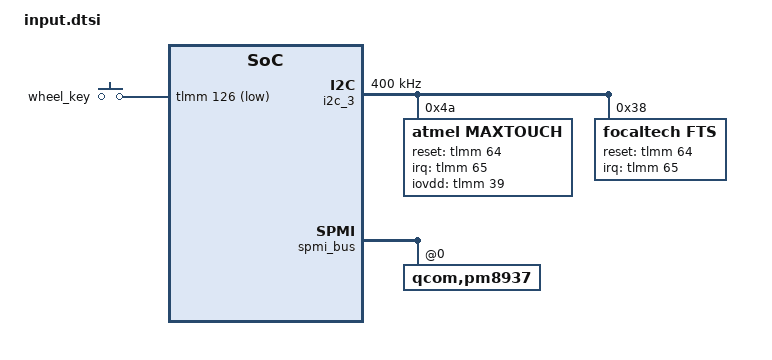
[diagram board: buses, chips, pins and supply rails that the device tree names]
// SPDX-License-Identifier: GPL-2.0-only
#include <dt-bindings/input/atmel-maxtouch.h>

&i2c_3 { /* BLSP1 QUP3 */
	status = "ok";
	clock-frequency = <400000>;

	/* EF71S (NT35695 panel): Atmel mXT641T */
	atmel@4a {
		compatible = "atmel,maxtouch", "atmel,atmel_mxt_641t";
		reg = <0x4a>;
		interrupt-parent = <&tlmm>;
		interrupts = <65 0x2008>;

		pinctrl-names = "default";
		pinctrl-0 = <&ts_int_active &ts_reset_active>;

		atmel,reset-gpio = <&tlmm 64 0x00>;
		atmel,irq-gpio = <&tlmm 65 0x2008>;
		atmel,iovdd-gpio = <&tlmm 39 0x00>;
		atmel,wakeup-method = <ATMEL_MXT_WAKEUP_I2C_SCL>;

		pantech,panel = "nt35695";
	};

	/* EF71AS: FocalTech FT8716, on the same GPIOs */
	focaltech@38 {
		compatible = "focaltech,fts";
		reg = <0x38>;
		interrupt-parent = <&tlmm>;
		interrupts = <65 0x2008>;
		pinctrl-names = "pmx_ts_active", "pmx_ts_suspend";
		pinctrl-0 = <&ts_int_active &ts_reset_active>;
		pinctrl-1 = <&ts_int_suspend &ts_reset_suspend>;
		focaltech,name = "fts";
		focaltech,family-id = <0x87>;
		focaltech,reset-gpio = <&tlmm 64 0x00>;
		focaltech,irq-gpio = <&tlmm 65 0x2008>;
		focaltech,display-coords = <0 0 1080 1920>;
		focaltech,panel-coords = <0 0 1080 1920>;
		focaltech,no-force-update;
		focaltech,i2c-pull-up;
		focaltech,group-id = <1>;
		focaltech,hard-reset-delay-ms = <20>;
		focaltech,soft-reset-delay-ms = <300>;
		focaltech,num-max-touches = <10>;
		focaltech,fw-name = "FT_Upgrade_App.i";
		focaltech,fw-delay-aa-ms = <50>;
		focaltech,fw-delay-55-ms = <30>;
		focaltech,fw-upgrade-id1 = <0x87>;
		focaltech,fw-upgrade-id2 = <0xa6>;
		focaltech,fw-delay-readid-ms = <10>;
		focaltech,fw-delay-era-flsh-ms = <2000>;
		/* The FT8716 reports both axes mirrored */
		pantech,x-flip;
		pantech,y-flip;
		pantech,panel = "ft8716";
	};
};

&soc {
	gpio_keys {
		pinctrl-names = "default";
		pinctrl-0 = <&gpio_key_wheel_active>;

		/delete-node/ camera_focus;
		/delete-node/ camera_snapshot;
		/delete-node/ vol_up;

		wheel_key {
			label = "wheel_key";
			gpios = <&tlmm 126 0x1>;
			linux,input-type = <1>;
			linux,code = <250>;
			gpio-key,wakeup;
			debounce-interval = <15>;
		};
	};

	/* Rotary wheel (volume), GPIO 127/128 are the two encoder terminals */
	gpio_wheel_alps_ec05e {
		compatible = "gpio-wheel-alps-ec05e";
		input-name = "gpio-wheel-alps-ec05e";
		pinctrl-names = "tlmm_gpio_wheel_alps_ec05e_active",
				"tlmm_gpio_wheel_alps_ec05e_suspend";
		pinctrl-0 = <&gpio_wheel_alps_ec05e_active>;
		pinctrl-1 = <&gpio_wheel_alps_ec05e_suspend>;

		terminal_a { /* Wheel down */
			label = "terminal_a";
			gpios = <&tlmm 128 0x1>;
		};

		terminal_b { /* Wheel up */
			label = "terminal_b";
			gpios = <&tlmm 127 0x1>;
		};
	};
};

&spmi_bus {
	qcom,pm8937@0 {
		qcom,power-on@800 {
			/delete-property/ qcom,store-hard-reset-reason;

			/* RESIN is not a volume key here, the wheel is */
			qcom,pon_2 {
				/delete-property/ linux,code;
			};
		};
	};
};
